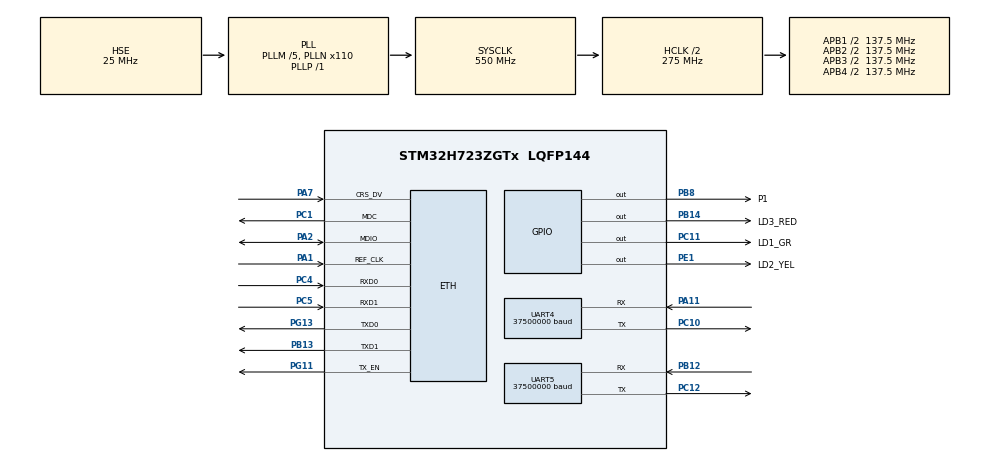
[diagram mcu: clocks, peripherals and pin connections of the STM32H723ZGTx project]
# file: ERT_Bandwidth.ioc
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CORTEX_M7.AccessPermission-Cortex_Memory_Protection_Unit_Region0_Settings=MPU_REGION_FULL_ACCESS
CORTEX_M7.AccessPermission-Cortex_Memory_Protection_Unit_Region1_Settings=MPU_REGION_FULL_ACCESS
CORTEX_M7.AccessPermission-Cortex_Memory_Protection_Unit_Region2_Settings=MPU_REGION_FULL_ACCESS
CORTEX_M7.AccessPermission-Cortex_Memory_Protection_Unit_Region3_Settings=MPU_REGION_FULL_ACCESS
CORTEX_M7.AccessPermission_Spec=MPU_REGION_FULL_ACCESS
CORTEX_M7.BaseAddress-Cortex_Memory_Protection_Unit_Region1_Settings=0x30000200
CORTEX_M7.BaseAddress-Cortex_Memory_Protection_Unit_Region2_Settings=0x30000000
CORTEX_M7.BaseAddress-Cortex_Memory_Protection_Unit_Region3_Settings=0x30005000
CORTEX_M7.BaseAddress_Spec=0x30000000
CORTEX_M7.CPU_DCache=Enabled
CORTEX_M7.CPU_ICache=Enabled
CORTEX_M7.DisableExec-Cortex_Memory_Protection_Unit_Region0_Settings=MPU_INSTRUCTION_ACCESS_DISABLE
CORTEX_M7.DisableExec-Cortex_Memory_Protection_Unit_Region1_Settings=MPU_INSTRUCTION_ACCESS_DISABLE
CORTEX_M7.DisableExec-Cortex_Memory_Protection_Unit_Region2_Settings=MPU_INSTRUCTION_ACCESS_DISABLE
CORTEX_M7.DisableExec-Cortex_Memory_Protection_Unit_Region3_Settings=MPU_INSTRUCTION_ACCESS_DISABLE
CORTEX_M7.Enable-Cortex_Memory_Protection_Unit_Region0_Settings=MPU_REGION_ENABLE
CORTEX_M7.Enable-Cortex_Memory_Protection_Unit_Region1_Settings=MPU_REGION_ENABLE
CORTEX_M7.Enable-Cortex_Memory_Protection_Unit_Region2_Settings=MPU_REGION_ENABLE
CORTEX_M7.Enable-Cortex_Memory_Protection_Unit_Region3_Settings=MPU_REGION_ENABLE
CORTEX_M7.Enable-Cortex_Memory_Protection_Unit_Region4_Settings=__NULL
CORTEX_M7.Enable_S-Cortex_Memory_Protection_Unit_Region1_Settings_S=__NULL
CORTEX_M7.Enable_S-Cortex_Memory_Protection_Unit_Region2_Settings_S=__NULL
CORTEX_M7.IsBufferable-Cortex_Memory_Protection_Unit_Region2_Settings=MPU_ACCESS_BUFFERABLE
CORTEX_M7.IsBufferable-Cortex_Memory_Protection_Unit_Region3_Settings=MPU_ACCESS_BUFFERABLE
CORTEX_M7.IsShareable-Cortex_Memory_Protection_Unit_Region0_Settings=MPU_ACCESS_SHAREABLE
CORTEX_M7.IsShareable-Cortex_Memory_Protection_Unit_Region2_Settings=MPU_ACCESS_SHAREABLE
CORTEX_M7.IsShareable-Cortex_Memory_Protection_Unit_Region3_Settings=MPU_ACCESS_SHAREABLE
CORTEX_M7.IsShareable_Spec=MPU_ACCESS_SHAREABLE
CORTEX_M7.MPU_Control=MPU_PRIVILEGED_DEFAULT
CORTEX_M7.Size-Cortex_Memory_Protection_Unit_Region0_Settings=MPU_REGION_SIZE_4GB
CORTEX_M7.Size-Cortex_Memory_Protection_Unit_Region1_Settings=MPU_REGION_SIZE_16KB
CORTEX_M7.Size-Cortex_Memory_Protection_Unit_Region2_Settings=MPU_REGION_SIZE_512B
CORTEX_M7.Size-Cortex_Memory_Protection_Unit_Region3_Settings=MPU_REGION_SIZE_4KB
CORTEX_M7.Size_Spec=MPU_REGION_SIZE_32KB
CORTEX_M7.SubRegionDisable-Cortex_Memory_Protection_Unit_Region0_Settings=0x87
CORTEX_M7.SubRegionDisable_Spec=0
CORTEX_M7.TypeExtField-Cortex_Memory_Protection_Unit_Region1_Settings=MPU_TEX_LEVEL1
CORTEX_M7.TypeExtField_Spec=MPU_TEX_LEVEL1
CORTEX_M7.default_mode_Activation=0
Dma.Request0=UART4_TX
Dma.Request1=UART5_RX
Dma.UART4_TX.0.Direction=DMA_MEMORY_TO_PERIPH
Dma.UART4_TX.0.EventEnable=DISABLE
Dma.UART4_TX.0.FIFOMode=DMA_FIFOMODE_DISABLE
Dma.UART4_TX.0.Instance=DMA1_Stream1
Dma.UART4_TX.0.MemDataAlignment=DMA_MDATAALIGN_BYTE
Dma.UART4_TX.0.MemInc=DMA_MINC_ENABLE
Dma.UART4_TX.0.Mode=DMA_NORMAL
Dma.UART4_TX.0.PeriphDataAlignment=DMA_PDATAALIGN_BYTE
Dma.UART4_TX.0.PeriphInc=DMA_PINC_DISABLE
Dma.UART4_TX.0.Polarity=HAL_DMAMUX_REQ_GEN_RISING
Dma.UART4_TX.0.Priority=DMA_PRIORITY_LOW
Dma.UART4_TX.0.RequestNumber=1
Dma.UART4_TX.0.SignalID=NONE
Dma.UART4_TX.0.SyncEnable=DISABLE
Dma.UART4_TX.0.SyncPolarity=HAL_DMAMUX_SYNC_NO_EVENT
Dma.UART4_TX.0.SyncRequestNumber=1
Dma.UART4_TX.0.SyncSignalID=NONE
Dma.UART5_RX.1.Direction=DMA_PERIPH_TO_MEMORY
Dma.UART5_RX.1.EventEnable=DISABLE
Dma.UART5_RX.1.FIFOMode=DMA_FIFOMODE_DISABLE
Dma.UART5_RX.1.Instance=DMA2_Stream2
Dma.UART5_RX.1.MemDataAlignment=DMA_MDATAALIGN_BYTE
Dma.UART5_RX.1.MemInc=DMA_MINC_ENABLE
Dma.UART5_RX.1.Mode=DMA_NORMAL
Dma.UART5_RX.1.PeriphDataAlignment=DMA_PDATAALIGN_BYTE
Dma.UART5_RX.1.PeriphInc=DMA_PINC_DISABLE
Dma.UART5_RX.1.Polarity=HAL_DMAMUX_REQ_GEN_RISING
Dma.UART5_RX.1.Priority=DMA_PRIORITY_LOW
Dma.UART5_RX.1.RequestNumber=1
Dma.UART5_RX.1.SignalID=NONE
Dma.UART5_RX.1.SyncEnable=DISABLE
Dma.UART5_RX.1.SyncPolarity=HAL_DMAMUX_SYNC_NO_EVENT
Dma.UART5_RX.1.SyncRequestNumber=1
Dma.UART5_RX.1.SyncSignalID=NONE
ETH.MACAddr=00\:80\:E1\:00\:00\:33
ETH.MediaInterface=HAL_ETH_RMII_MODE
ETH.RxBuffLen=1524
ETH.TxDescAddress=0x30000080
LWIP.BSP.number=1
LWIP.GATEWAY_ADDRESS=192.168.000.001
LWIP.IP_ADDRESS=192.168.000.155
LWIP.LWIP_DHCP=0
LWIP.LWIP_HTTPD=0
LWIP.LWIP_RAM_HEAP_POINTER=0x30000200
LWIP.MEM_SIZE=10*1024
LWIP.NETMASK_ADDRESS=255.255.255.000
LWIP.TCP_MSS=1460
LWIP.TCP_SND_BUF=5840
LWIP.TCP_SND_QUEUELEN=16
LWIP.TCP_WND=5840
LWIP.Version=v2.1.2_Cube
LWIP0.BSP.STBoard=false
LWIP0.BSP.api=BSP_COMPONENT_DRIVER
LWIP0.BSP.component=LAN8742
LWIP0.BSP.instance=LAN8742
LWIP0.BSP.name=Driver_PHY
LWIP0.BSP.semaphore=S_LAN8742
LWIP0.BSP.solution=LAN8742
Mcu.Family=STM32H7
Mcu.Name=STM32H723ZGTx
Mcu.Package=LQFP144
Mcu.UserConstants=uSecondTimPrescaller,274
NVIC.DMA1_Stream1_IRQn=true\:0\:0\:false\:false\:true\:false\:true\:true
NVIC.DMA2_Stream2_IRQn=true\:0\:0\:false\:false\:true\:false\:true\:true
NVIC.PriorityGroup=NVIC_PRIORITYGROUP_4
NVIC.TIM2_IRQn=true\:10\:0\:true\:false\:true\:true\:true\:true
NVIC.TIM4_IRQn=true\:7\:0\:true\:false\:true\:true\:true\:true
NVIC.UART4_IRQn=true\:0\:0\:true\:false\:true\:true\:true\:true
NVIC.UART5_IRQn=true\:0\:0\:true\:false\:true\:true\:true\:true
PA1.GPIO_PuPd=GPIO_NOPULL
PA1.GPIO_Speed=GPIO_SPEED_FREQ_VERY_HIGH
PA1.Mode=RMII
PA1.Signal=ETH_REF_CLK
PA11.GPIO_Speed=GPIO_SPEED_FREQ_VERY_HIGH
PA11.Mode=Asynchronous
PA11.Signal=UART4_RX
PA2.GPIO_PuPd=GPIO_NOPULL
PA2.GPIO_Speed=GPIO_SPEED_FREQ_VERY_HIGH
PA2.Mode=RMII
PA2.Signal=ETH_MDIO
PA7.GPIO_PuPd=GPIO_NOPULL
PA7.GPIO_Speed=GPIO_SPEED_FREQ_VERY_HIGH
PA7.Mode=RMII
PA7.Signal=ETH_CRS_DV
PB12.GPIO_Speed=GPIO_SPEED_FREQ_VERY_HIGH
PB12.Mode=Asynchronous
PB12.Signal=UART5_RX
PB13.GPIO_PuPd=GPIO_NOPULL
PB13.GPIO_Speed=GPIO_SPEED_FREQ_VERY_HIGH
PB13.Mode=RMII
PB13.Signal=ETH_TXD1
PB14.GPIO_Label=LD3_RED
PB14.Signal=GPIO_Output
PB8.GPIO_FM8=SYSCFG_PMCR_I2C_PB8_FMP
PB8.GPIO_Label=P1
PB8.GPIO_Speed=GPIO_SPEED_FREQ_VERY_HIGH
PB8.Signal=GPIO_Output
PC1.GPIO_PuPd=GPIO_NOPULL
PC1.GPIO_Speed=GPIO_SPEED_FREQ_VERY_HIGH
PC1.Mode=RMII
PC1.Signal=ETH_MDC
PC10.GPIO_Speed=GPIO_SPEED_FREQ_VERY_HIGH
PC10.Mode=Asynchronous
PC10.Signal=UART4_TX
PC11.GPIO_Label=LD1_GR
PC11.Signal=GPIO_Output
PC12.GPIO_Speed=GPIO_SPEED_FREQ_VERY_HIGH
PC12.Mode=Asynchronous
PC12.Signal=UART5_TX
PC4.GPIO_PuPd=GPIO_NOPULL
PC4.GPIO_Speed=GPIO_SPEED_FREQ_VERY_HIGH
PC4.Mode=RMII
PC4.Signal=ETH_RXD0
PC5.GPIO_PuPd=GPIO_NOPULL
PC5.GPIO_Speed=GPIO_SPEED_FREQ_VERY_HIGH
PC5.Mode=RMII
PC5.Signal=ETH_RXD1
PE1.GPIO_Label=LD2_YEL
PE1.Signal=GPIO_Output
PG11.GPIO_PuPd=GPIO_NOPULL
PG11.GPIO_Speed=GPIO_SPEED_FREQ_VERY_HIGH
PG11.Mode=RMII
PG11.Signal=ETH_TX_EN
PG13.GPIO_PuPd=GPIO_NOPULL
PG13.GPIO_Speed=GPIO_SPEED_FREQ_VERY_HIGH
PG13.Mode=RMII
PG13.Signal=ETH_TXD0
PH0-OSC_IN.Mode=HSE-External-Oscillator
PH0-OSC_IN.Signal=RCC_OSC_IN
PH1-OSC_OUT.Mode=HSE-External-Oscillator
PH1-OSC_OUT.Signal=RCC_OSC_OUT
ProjectManager.HeapSize=0x400
ProjectManager.StackSize=0x800
ProjectManager.TargetToolchain=STM32CubeIDE
RCC.ADCFreq_Value=300000000
RCC.APB1Freq_Value=137500000
RCC.APB2Freq_Value=137500000
RCC.APB3Freq_Value=137500000
RCC.APB4Freq_Value=137500000
RCC.CortexFreq_Value=550000000
RCC.D1PPRE=RCC_APB3_DIV2
RCC.D2PPRE1=RCC_APB1_DIV2
RCC.D2PPRE2=RCC_APB2_DIV2
RCC.D3PPRE=RCC_APB4_DIV2
RCC.DIVM1=5
RCC.DIVM2=10
RCC.DIVN1=110
RCC.DIVN2=240
RCC.DIVP1=1
RCC.DIVQ1=5
RCC.HCLKFreq_Value=275000000
RCC.HPRE=RCC_HCLK_DIV2
RCC.PLLFRACN=0
RCC.PLLSourceVirtual=RCC_PLLSOURCE_HSE
RCC.SYSCLKFreq_VALUE=550000000
RCC.SYSCLKSource=RCC_SYSCLKSOURCE_PLLCLK
RCC.USART234578CLockSelection=RCC_USART234578CLKSOURCE_PLL2
RCC.USBCLockSelection=RCC_USBCLKSOURCE_HSI48
RCC.USBFreq_Value=48000000
TIM2.Prescaler=uSecondTimPrescaller
TIM4.Period=1000-1
TIM4.Prescaler=uSecondTimPrescaller
UART4.BaudRate=37500000
UART4.Mode=MODE_TX
UART4.OverSampling=UART_OVERSAMPLING_8
UART5.BaudRate=37500000
UART5.Mode=MODE_RX
UART5.OverSampling=UART_OVERSAMPLING_8
VP_LWIP_VS_Enabled.Mode=Enabled
VP_MEMORYMAP_VS_MEMORYMAP.Mode=CurAppReg
VP_TIM2_VS_ClockSourceINT.Mode=Internal
VP_TIM4_VS_ClockSourceINT.Mode=Internal
board=custom

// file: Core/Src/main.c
/* USER CODE BEGIN Header */
/**
  ******************************************************************************
  * @file           : main.c
  * @brief          : Main program body
  ******************************************************************************
  * @attention
  *
  * Copyright (c) 2025 STMicroelectronics.
  * All rights reserved.
  *
  * This software is licensed under terms that can be found in the LICENSE file
  * in the root directory of this software component.
  * If no LICENSE file comes with this software, it is provided AS-IS.
  *
  ******************************************************************************
  */
/* USER CODE END Header */
#include "main.h"
#include "dma.h"
#include "lwip.h"
#include "tim.h"
#include "usart.h"
#include "gpio.h"

/* USER CODE BEGIN Includes */
#include "arm_math.h"
#include "inet.h"
#include "udpClient.h"
/* USER CODE END Includes */

/* USER CODE BEGIN PD */
#define		MAIN_CYCLE_TOGGLE_LED		3000000//2200000 = 1s; 1020 = 1ms
/* USER CODE END PD */

/* USER CODE BEGIN PV */
extern TIM_HandleTypeDef htim4;
extern DMA_HandleTypeDef hdma_uart5_tx;
extern UART_HandleTypeDef huart5;

uint8_t ethPressuresBankFullStatus = RESET;
uint8_t udp_connected = RESET;
uint32_t main_cycle_counter = 0;

//QFullPacket packetRX;
//QFullPacket packetTX;
__attribute__ ((section(".rxUartBuffer"))) __attribute__ ((aligned (4))) QFullPacket packetRX;
__attribute__ ((section(".txUartBuffer"))) __attribute__ ((aligned (4))) QFullPacket packetTX;

size_t cutIdRx = 0;
size_t cutIdTx = 0;

QFirstSectionPacket* pFirstSectionPacketRX;
QFirstSectionPacket* pFirstSectionPacketRxToUdp;
QFirstSectionPacket* pFirstSectionPacketTX;

ip4_addr_t	udpServerAddr;

uint32_t usart4_interrupt_conter = 0;
uint32_t usart5_interrupt_conter = 0;
/* USER CODE END PV */

void SystemClock_Config(void);
void PeriphCommonClock_Config(void);
static void MPU_Config(void);
/* USER CODE BEGIN PFP */

void prepareData(size_t cutId){
	for (size_t cut = 0; cut < FIRST_SECTION_CUTS_PER_PACKET; ++cut) {
		QFirstSectionPacket* pPacket = pFirstSectionPacketTX + cut;
		for (size_t step = 0; step < STEP_SIZE; ++step) {
			for (size_t el = 0; el < STEP_SIZE; ++el) {
				pPacket->steps[step].cutIndex = cutId + cut;
				pPacket->steps[step].stepData[el][0] = 120;
				pPacket->steps[step].stepData[el][1] = 0;
				pPacket->steps[step].stepData[el][2] = 0;
			}
			pPacket->currentSamples.cutIndex = cutId + cut;
		}
		pPacket->temperature = 36.6;
		pPacket->status = 1;
	}
}

void setIdData(size_t cutId){
	for (size_t cut = 0; cut < FIRST_SECTION_CUTS_PER_PACKET; ++cut) {
		QFirstSectionPacket* pPacket = pFirstSectionPacketTX + cut;
		for (size_t step = 0; step < STEP_SIZE; ++step) {
			for (size_t el = 0; el < STEP_SIZE; ++el) {
				pPacket->steps[step].cutIndex = cutId + cut;
			}
			pPacket->currentSamples.cutIndex = cutId + cut;
		}
	}
}

void HAL_UART_RxCpltCallback(UART_HandleTypeDef *huart){
	if(huart == &huart5){
		pFirstSectionPacketRxToUdp = pFirstSectionPacketRX;
		cutIdRx += FIRST_SECTION_CUTS_PER_PACKET;
		pFirstSectionPacketRX = &packetRX.firstSectionPacket[cutIdRx%(2*FIRST_SECTION_CUTS_PER_PACKET)];
		SCB_InvalidateDCache_by_Addr(pFirstSectionPacketRX, FIRST_SECTION_CUTS_PER_PACKET * SECTION_PACKET_SIZE);
		HAL_UART_Receive_DMA (huart, (uint8_t *)pFirstSectionPacketRX, FIRST_SECTION_CUTS_PER_PACKET * SECTION_PACKET_SIZE);
		ethPressuresBankFullStatus = SET;
	}
}

void HAL_UART_TxCpltCallback(UART_HandleTypeDef *huart){
	if(huart == &huart4){
		cutIdTx += FIRST_SECTION_CUTS_PER_PACKET;
		pFirstSectionPacketTX = &packetTX.firstSectionPacket[cutIdTx%(2*FIRST_SECTION_CUTS_PER_PACKET)];
//		setIdData(cutIdTx);
	}
}

/* USER CODE END PFP */

int main(void)
{

  /* MPU Configuration--------------------------------------------------------*/
  MPU_Config();

  /* Enable the CPU Cache */

  /* Enable I-Cache---------------------------------------------------------*/
  SCB_EnableICache();

  /* Enable D-Cache---------------------------------------------------------*/
  SCB_EnableDCache();

  /* MCU Configuration--------------------------------------------------------*/

  /* Reset of all peripherals, Initializes the Flash interface and the Systick. */
  HAL_Init();

  /* Configure the system clock */
  SystemClock_Config();

  /* Configure the peripherals common clocks */
  PeriphCommonClock_Config();

  /* Initialize all configured peripherals */
  MX_GPIO_Init();
  MX_DMA_Init();
  MX_LWIP_Init();
  MX_UART4_Init();
  MX_UART5_Init();
  MX_TIM4_Init();
  MX_TIM2_Init();
  /* USER CODE BEGIN 2 */
  udpServerAddr.addr =  inet_addr("192.168.0.53");

  pFirstSectionPacketRX = &packetRX.firstSectionPacket[0];
  pFirstSectionPacketTX = &packetTX.firstSectionPacket[0];
  pFirstSectionPacketRxToUdp = pFirstSectionPacketRX;

   /* UDP client connect */
  udpClientConnect(udpServerAddr, UDP_PORT);
  udp_connected = SET;
  HAL_Delay(500);

//  memset(pFirstSectionPacketRX, 0, 2*FIRST_SECTION_CUTS_PER_PACKET * SECTION_PACKET_SIZE);
//  memset(pFirstSectionPacketTX, 0, 2*FIRST_SECTION_CUTS_PER_PACKET * SECTION_PACKET_SIZE);

  prepareData(cutIdTx);
  pFirstSectionPacketTX = &packetTX.firstSectionPacket[5];
  prepareData(cutIdTx+FIRST_SECTION_CUTS_PER_PACKET);
  pFirstSectionPacketTX = &packetTX.firstSectionPacket[0];

//  HAL_TIM_Base_Start_IT(&htim2);
  HAL_TIM_Base_Start_IT(&htim4);

  HAL_UART_Receive_DMA (&huart5, (uint8_t *)pFirstSectionPacketRX, FIRST_SECTION_CUTS_PER_PACKET * SECTION_PACKET_SIZE);
  HAL_UART_Transmit_DMA(&huart4, (uint8_t*)pFirstSectionPacketTX, FIRST_SECTION_CUTS_PER_PACKET*SECTION_PACKET_SIZE);

  /* USER CODE END 2 */

  /* Infinite loop */
  /* USER CODE BEGIN WHILE */
  while (1){
	  MX_LWIP_Process();

	  if(ethPressuresBankFullStatus == SET){
		  ethPressuresBankFullStatus = RESET;
		  HAL_GPIO_WritePin(P1_GPIO_Port, P1_Pin, GPIO_PIN_SET);
		  udpClientSend(pFirstSectionPacketRxToUdp, FIRST_SECTION_CUTS_PER_PACKET * SECTION_PACKET_SIZE);
		  HAL_GPIO_WritePin(P1_GPIO_Port, P1_Pin, GPIO_PIN_RESET);

	  }

    /* USER CODE END WHILE */

    /* USER CODE BEGIN 3 */
	  main_cycle_counter++;
	  if (main_cycle_counter == MAIN_CYCLE_TOGGLE_LED){
		main_cycle_counter = 0;
		HAL_GPIO_TogglePin(LD1_GR_GPIO_Port, LD1_GR_Pin);    //Green LED Toggle
	  }

  }
  /* USER CODE END 3 */
}

void SystemClock_Config(void)
{
  RCC_OscInitTypeDef RCC_OscInitStruct = {0};
  RCC_ClkInitTypeDef RCC_ClkInitStruct = {0};

  /** Supply configuration update enable
  */
  HAL_PWREx_ConfigSupply(PWR_LDO_SUPPLY);

  /** Configure the main internal regulator output voltage
  */
  __HAL_PWR_VOLTAGESCALING_CONFIG(PWR_REGULATOR_VOLTAGE_SCALE0);

  while(!__HAL_PWR_GET_FLAG(PWR_FLAG_VOSRDY)) {}

  /** Initializes the RCC Oscillators according to the specified parameters
  * in the RCC_OscInitTypeDef structure.
  */
  RCC_OscInitStruct.OscillatorType = RCC_OSCILLATORTYPE_HSE;
  RCC_OscInitStruct.HSEState = RCC_HSE_ON;
  RCC_OscInitStruct.PLL.PLLState = RCC_PLL_ON;
  RCC_OscInitStruct.PLL.PLLSource = RCC_PLLSOURCE_HSE;
  RCC_OscInitStruct.PLL.PLLM = 5;
  RCC_OscInitStruct.PLL.PLLN = 110;
  RCC_OscInitStruct.PLL.PLLP = 1;
  RCC_OscInitStruct.PLL.PLLQ = 5;
  RCC_OscInitStruct.PLL.PLLR = 2;
  RCC_OscInitStruct.PLL.PLLRGE = RCC_PLL1VCIRANGE_2;
  RCC_OscInitStruct.PLL.PLLVCOSEL = RCC_PLL1VCOWIDE;
  RCC_OscInitStruct.PLL.PLLFRACN = 0;
  if (HAL_RCC_OscConfig(&RCC_OscInitStruct) != HAL_OK)
  {
    Error_Handler();
  }

  /** Initializes the CPU, AHB and APB buses clocks
  */
  RCC_ClkInitStruct.ClockType = RCC_CLOCKTYPE_HCLK|RCC_CLOCKTYPE_SYSCLK
                              |RCC_CLOCKTYPE_PCLK1|RCC_CLOCKTYPE_PCLK2
                              |RCC_CLOCKTYPE_D3PCLK1|RCC_CLOCKTYPE_D1PCLK1;
  RCC_ClkInitStruct.SYSCLKSource = RCC_SYSCLKSOURCE_PLLCLK;
  RCC_ClkInitStruct.SYSCLKDivider = RCC_SYSCLK_DIV1;
  RCC_ClkInitStruct.AHBCLKDivider = RCC_HCLK_DIV2;
  RCC_ClkInitStruct.APB3CLKDivider = RCC_APB3_DIV2;
  RCC_ClkInitStruct.APB1CLKDivider = RCC_APB1_DIV2;
  RCC_ClkInitStruct.APB2CLKDivider = RCC_APB2_DIV2;
  RCC_ClkInitStruct.APB4CLKDivider = RCC_APB4_DIV2;

  if (HAL_RCC_ClockConfig(&RCC_ClkInitStruct, FLASH_LATENCY_3) != HAL_OK)
  {
    Error_Handler();
  }
}

void PeriphCommonClock_Config(void)
{
  RCC_PeriphCLKInitTypeDef PeriphClkInitStruct = {0};

  /** Initializes the peripherals clock
  */
  PeriphClkInitStruct.PeriphClockSelection = RCC_PERIPHCLK_UART5|RCC_PERIPHCLK_UART4;
  PeriphClkInitStruct.PLL2.PLL2M = 10;
  PeriphClkInitStruct.PLL2.PLL2N = 240;
  PeriphClkInitStruct.PLL2.PLL2P = 2;
  PeriphClkInitStruct.PLL2.PLL2Q = 2;
  PeriphClkInitStruct.PLL2.PLL2R = 2;
  PeriphClkInitStruct.PLL2.PLL2RGE = RCC_PLL2VCIRANGE_1;
  PeriphClkInitStruct.PLL2.PLL2VCOSEL = RCC_PLL2VCOWIDE;
  PeriphClkInitStruct.PLL2.PLL2FRACN = 0;
  PeriphClkInitStruct.Usart234578ClockSelection = RCC_USART234578CLKSOURCE_PLL2;
  if (HAL_RCCEx_PeriphCLKConfig(&PeriphClkInitStruct) != HAL_OK)
  {
    Error_Handler();
  }
}

 /* MPU Configuration */

void MPU_Config(void)
{
  MPU_Region_InitTypeDef MPU_InitStruct = {0};

  /* Disables the MPU */
  HAL_MPU_Disable();

  /** Initializes and configures the Region and the memory to be protected
  */
  MPU_InitStruct.Enable = MPU_REGION_ENABLE;
  MPU_InitStruct.Number = MPU_REGION_NUMBER0;
  MPU_InitStruct.BaseAddress = 0x0;
  MPU_InitStruct.Size = MPU_REGION_SIZE_4GB;
  MPU_InitStruct.SubRegionDisable = 0x87;
  MPU_InitStruct.TypeExtField = MPU_TEX_LEVEL0;
  MPU_InitStruct.AccessPermission = MPU_REGION_FULL_ACCESS;
  MPU_InitStruct.DisableExec = MPU_INSTRUCTION_ACCESS_DISABLE;
  MPU_InitStruct.IsShareable = MPU_ACCESS_SHAREABLE;
  MPU_InitStruct.IsCacheable = MPU_ACCESS_NOT_CACHEABLE;
  MPU_InitStruct.IsBufferable = MPU_ACCESS_NOT_BUFFERABLE;

  HAL_MPU_ConfigRegion(&MPU_InitStruct);

  /** Initializes and configures the Region and the memory to be protected
  */
  MPU_InitStruct.Number = MPU_REGION_NUMBER1;
  MPU_InitStruct.BaseAddress = 0x30000200;
  MPU_InitStruct.Size = MPU_REGION_SIZE_16KB;
  MPU_InitStruct.SubRegionDisable = 0x0;
  MPU_InitStruct.TypeExtField = MPU_TEX_LEVEL1;
  MPU_InitStruct.IsShareable = MPU_ACCESS_NOT_SHAREABLE;

  HAL_MPU_ConfigRegion(&MPU_InitStruct);

  /** Initializes and configures the Region and the memory to be protected
  */
  MPU_InitStruct.Number = MPU_REGION_NUMBER2;
  MPU_InitStruct.BaseAddress = 0x30000000;
  MPU_InitStruct.Size = MPU_REGION_SIZE_512B;
  MPU_InitStruct.TypeExtField = MPU_TEX_LEVEL0;
  MPU_InitStruct.IsShareable = MPU_ACCESS_SHAREABLE;
  MPU_InitStruct.IsBufferable = MPU_ACCESS_BUFFERABLE;

  HAL_MPU_ConfigRegion(&MPU_InitStruct);

  /** Initializes and configures the Region and the memory to be protected
  */
  MPU_InitStruct.Number = MPU_REGION_NUMBER3;
  MPU_InitStruct.BaseAddress = 0x30005000;
  MPU_InitStruct.Size = MPU_REGION_SIZE_4KB;

  MPU_InitStruct.Number = MPU_REGION_NUMBER4;
  MPU_InitStruct.BaseAddress = 0x30006000;
  MPU_InitStruct.Size = MPU_REGION_SIZE_4KB;

  HAL_MPU_ConfigRegion(&MPU_InitStruct);
  /* Enables the MPU */
  HAL_MPU_Enable(MPU_PRIVILEGED_DEFAULT);

}

void Error_Handler(void)
{
  __disable_irq();
  while (1)
  {
  }
}
